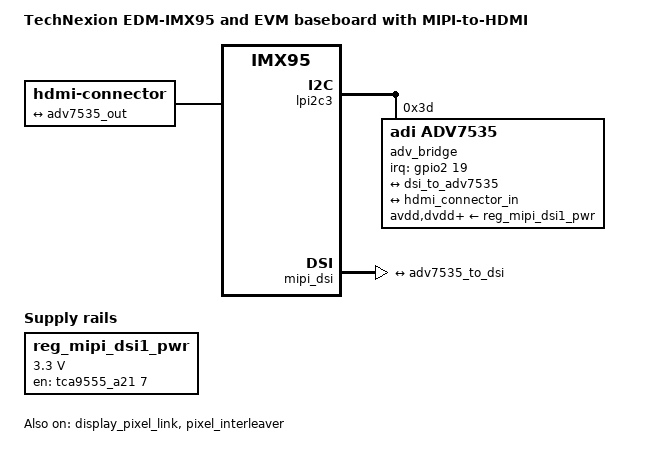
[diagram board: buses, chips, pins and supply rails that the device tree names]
// SPDX-License-Identifier: (GPL-2.0+ OR MIT)
/*
 * Copyright 2024 Technexion Ltd.
 *
 * Author: Richard Hu <richard.hu@technexion.com>
 *
 */

/dts-v1/;

#include "imx95-edm-evm.dts"

/ {
	model = "TechNexion EDM-IMX95 and EVM baseboard with MIPI-to-HDMI";
	compatible = "fsl,imx95-edm", "fsl,imx95";

	hdmi-connector {
		compatible = "hdmi-connector";
		label = "hdmi";
		type = "a";

		port {
			hdmi_connector_in: endpoint {
				remote-endpoint = <&adv7535_out>;
			};
		};
	};

	/delete-node/ sound;

	sound-adv7535 {
		compatible = "simple-audio-card";
		simple-audio-card,name = "adv7535-hdmi";
		simple-audio-card,mclk-fs = <256>;
		simple-audio-card,mclk-clk-id = <1>;
		simple-audio-card,format = "i2s";
		simple-audio-card,bitclock-master = <&sound_master>;
		simple-audio-card,frame-master = <&sound_master>;

		sound_master: simple-audio-card,cpu {
			sound-dai = <&sai5>;
		};

		simple-audio-card,codec {
			sound-dai = <&adv_bridge>;
		};
	};

	reg_mipi_dsi1_pwr: regulator-mipi-dsi1-pwr {	/* control DSI 3.3V, 5V, 12V regulators*/
		compatible = "regulator-fixed";
		regulator-name = "MIPI DSI1 PWR";
		regulator-min-microvolt = <3300000>;
		regulator-max-microvolt = <3300000>;
		gpio = <&tca9555_a21 7 GPIO_ACTIVE_HIGH>;	/*	DSI_PWR_EN */
		enable-active-high;
		startup-delay-us = <70000>;
		regulator-always-on;
	};
};

&display_pixel_link {
	status = "okay";
};

&dpu {
	assigned-clocks = <&scmi_clk IMX95_CLK_DISP1PIX>,
			  <&scmi_clk IMX95_CLK_VIDEOPLL1_VCO>,
			  <&scmi_clk IMX95_CLK_VIDEOPLL1>;
	assigned-clock-parents = <&scmi_clk IMX95_CLK_VIDEOPLL1>;
	assigned-clock-rates = <0>, <4008000000>, <445333334>;
};

/* I2C_C on EDM */
&lpi2c3 {
	adv_bridge: adv7535@3d {
		compatible = "adi,adv7535";
		reg = <0x3d>;
		avdd-supply = <&reg_mipi_dsi1_pwr>;
		dvdd-supply = <&reg_mipi_dsi1_pwr>;
		pvdd-supply = <&reg_mipi_dsi1_pwr>;
		a2vdd-supply = <&reg_mipi_dsi1_pwr>;
		v3p3-supply = <&reg_mipi_dsi1_pwr>;
		v1p2-supply = <&reg_mipi_dsi1_pwr>;
		adi,addr-cec = <0x3b>;
		adi,dsi-lanes = <4>;
		pinctrl-names = "default";
		pinctrl-0 = <&pinctrl_mipi_dsi_irq>;
		interrupt-parent = <&gpio2>;
		interrupts = <19 IRQ_TYPE_LEVEL_LOW>;
		status = "okay";
		#sound-dai-cells = <0>;

		ports {
			#address-cells = <1>;
			#size-cells = <0>;

			port@0 {
				reg = <0>;

				adv7535_to_dsi: endpoint {
					remote-endpoint = <&dsi_to_adv7535>;
				};
			};

			port@1 {
				reg = <1>;

				adv7535_out: endpoint {
					remote-endpoint = <&hdmi_connector_in>;
				};
			};
		};
	};
};

&mipi_dsi {
	status = "okay";

	ports {
		#address-cells = <1>;
		#size-cells = <0>;

		port@1 {
			reg = <1>;

			dsi_to_adv7535: endpoint {
				remote-endpoint = <&adv7535_to_dsi>;
			};
		};
	};
};

&pixel_interleaver {
	#address-cells = <1>;
	#size-cells = <0>;
	status = "okay";

	channel@0 {
		reg = <0>;
		status = "okay";
	};
};

/* I2C_B on EDM */
&lpi2c5 {
	tlv320aic3104: audio-codec@18 {
		status = "disabled";
	};
};
